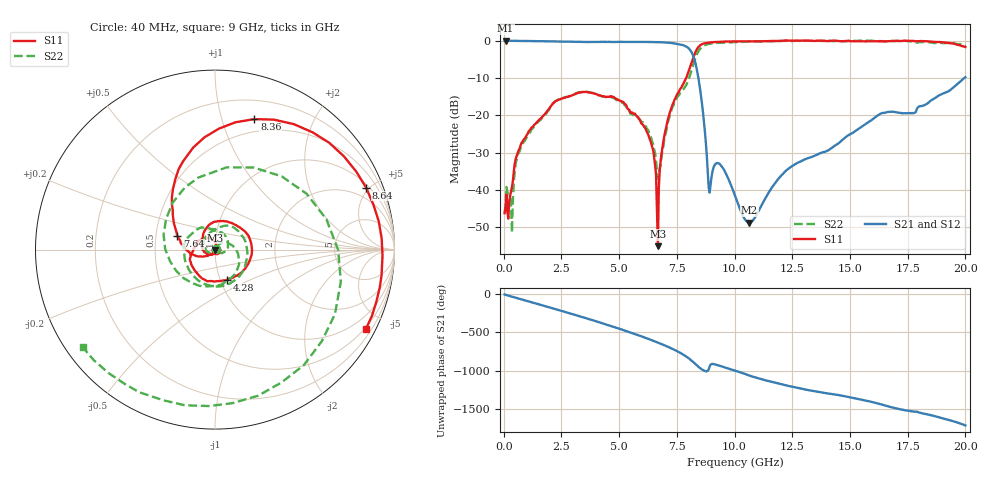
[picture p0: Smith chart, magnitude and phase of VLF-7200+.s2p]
! Mini-Circuits
! S2P DATA File Format
! Type: Coaxial SMA Connectorized Low Pass Filter
! Model: VLF-7200+
! Note: All S Parameters are in dB deg format
! TEST CONDITIONS: INPUT POWER = 0dBm @Temperature = -55degC
! 401 Frequency points
# MHz S dB R 50
!  FREQ  dB(S11)  PHS(S11)  dB(S21)  PHS(S21)  dB(S12)  PHS(S12)  dB(S22)  PHS(S22)
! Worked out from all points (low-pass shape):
!   401 points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, 40 MHz to 20 GHz, reference 50 ohm
!   highest |S21| = -0.01 dB at 80 MHz (marker M1); lowest = -48.8 dB at 10.64 GHz (marker M2)
!   |S21| within 3 dB of the highest: start of sweep to 8.129 GHz
!   lowest |S11| = -55.0 dB at 6.68 GHz (marker M3), VSWR 1.00, Z = 50 - j0.172 ohm
!   |S11| at or under -10 dB: start of sweep to 7.903 GHz
!   |S22| runs from -51.4 to 0.0 dB; largest |S21 - S12| = 0.018
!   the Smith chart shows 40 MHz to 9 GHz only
!   S11 on the Smith chart (normalised r, x): 40 MHz: 1.01, -0.00; 4.28 GHz: 1.08, -0.37; 7.64 GHz: 0.64, +0.10; 8.36 GHz: 0.37, +1.28; 8.64 GHz: 1.19, +4.78; 9 GHz: 0.44, -3.99
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40  -46.20 -1.3  -0.06 -3.9  0.02 -2.9  -45.98 53.1
80  -44.81 -62.5  -0.01 -7.3  0.01 -7.2  -44.18 -60.7
1040  -24.93 -163.2  -0.09 -90.0  -0.09 -89.9  -25.65 176.4
2000  -17.92 113.3  -0.16 -173.6  -0.17 -173.6  -18.09 80.0
3400  -13.78 9.3  -0.33 61.3  -0.34 61.4  -13.72 -65.9
4280  -14.86 -68.1  -0.33 -20.8  -0.33 -20.7  -14.91 -151.6
5760  -20.23 147.6  -0.32 -169.5  -0.31 -169.4  -20.35 54.8
6680  -55.03 -75.6  -0.40 86.5  -0.39 86.7  -37.07 -1.4
6720  -39.46 -98.0  -0.41 81.6  -0.41 81.8  -35.60 25.5
7640  -12.96 160.1  -1.00 -46.9  -0.99 -46.6  -14.03 -79.8
8360  -2.39 73.2  -7.50 148.7  -7.50 149.0  -3.83 15.2
8640  -0.82 22.3  -19.57 84.5  -19.60 85.0  -1.42 -73.5
9000  -0.45 -27.8  -36.65 164.2  -36.72 164.7  -0.77 -143.6
10040  -0.21 -122.1  -41.85 76.2  -41.90 76.7  -0.40 85.1
10640  -0.18 -167.5  -48.77 14.4  -48.77 14.6  -0.20 24.6
11960  -0.06 89.5  -36.55 -94.9  -36.55 -94.7  -0.08 -85.8
13360  -0.03 11.3  -31.09 173.8  -30.98 173.5  -0.01 175.9
14880  -0.07 -57.8  -25.53 96.0  -25.50 96.2  -0.11 74.8
16720  -0.12 163.6  -19.04 -35.6  -19.08 -34.7  -0.07 -51.1
18400  -0.18 89.8  -16.61 -137.6  -16.64 -137.4  -0.37 -179.2
19120  -0.49 56.3  -13.94 164.1  -13.95 164.4  -0.64 98.5
20000  -1.67 -28.0  -9.76 79.5  -9.78 79.4  -1.25 13.3
